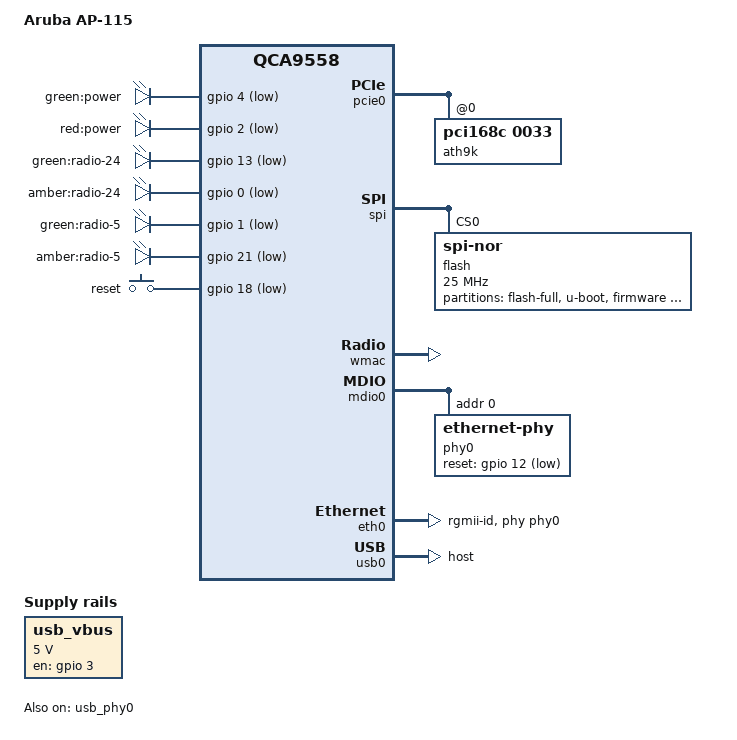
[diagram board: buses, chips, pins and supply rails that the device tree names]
// SPDX-License-Identifier: GPL-2.0-or-later OR MIT

#include "qca955x.dtsi"

#include <dt-bindings/gpio/gpio.h>
#include <dt-bindings/input/input.h>

/ {
	compatible = "aruba,ap-115", "qca,qca9558";
	model = "Aruba AP-115";

	aliases {
		led-boot = &led_power_green;
		led-failsafe = &led_power_red;
		led-running = &led_power_green;
		led-upgrade = &led_power_red;
		label-mac-device = &eth0;
	};

	chosen {
		bootargs = "console=ttyS0,9600n8";
	};

	/**
	 * Currently unused GPIOs in OpenWrt:
	 *
	 * TPM-CLK: 19
	 * TPM-IO: 20
	 * ETH-PHY-Interrupt: 11
	 * Power-DC: 22
	 * Power-PoE: 23
	 * Power-PoE-8023af: 17
	 */

	leds {
		compatible = "gpio-leds";

		led_power_green: power-green {
			label = "green:power";
			gpios = <&gpio 4 GPIO_ACTIVE_LOW>;
		};
		
		led_power_red: power-red {
			label = "red:power";
			gpios = <&gpio 2 GPIO_ACTIVE_LOW>;
		};

		radio-24-green {
			label = "green:radio-24";
			gpios = <&gpio 13 GPIO_ACTIVE_LOW>;
			linux,default-trigger = "phy0tpt";
		};

		radio-24-amber {
			label = "amber:radio-24";
			gpios = <&gpio 0 GPIO_ACTIVE_LOW>;
		};

		radio-5-green {
			label = "green:radio-5";
			gpios = <&gpio 1 GPIO_ACTIVE_LOW>;
			linux,default-trigger = "phy1tpt";
		};

		radio-5-amber {
			label = "amber:radio-5";
			gpios = <&gpio 21 GPIO_ACTIVE_LOW>;
		};
	};

	keys {
		compatible = "gpio-keys";

		reset {
			label = "reset";
			linux,code = <KEY_RESTART>;
			gpios = <&gpio 18 GPIO_ACTIVE_LOW>;
		};
	};

	reg_usb_vbus {
		compatible = "regulator-fixed";
		regulator-name = "usb_vbus";
		regulator-min-microvolt = <5000000>;
		regulator-max-microvolt = <5000000>;
		gpio = <&gpio 3 GPIO_ACTIVE_HIGH>;
		enable-active-high;
		regulator-always-on;
	};
};

&pcie0 {
	status = "okay";

	ath9k: wifi@0,0 {
		compatible = "pci168c,0033";
		reg = <0x0000 0 0 0 0>;
		qca,no-eeprom;

		nvmem-cells = <&macaddr_oemdata_1d>;
		nvmem-cell-names = "mac-address";

		mac-address-increment = <1>;
	};
};

&pinmux {
	/**
	 * Ugly hack ahead!
	 *
	 * GPIO05: Bank1-CS  / Bank2-CLK
	 * GPIO14: Bank1-CLK / Bank2-CS
	 *
	 * We can not support this with OpenWrt, as this
	 * would require us to influence the pinmux based on the CS.
	 * 
	 * We force-select Bank 1. Remember to blame Aruba for that.
	 */
	cs0_pin5: spi-cs0-pin5 {
		pinctrl-single,bits = <0x4 0x900 0xff00>;
	};

	clk_pin14: spi-cs1-pin14 {
		pinctrl-single,bits = <0xc 0x0a0000 0xff0000>;
	};
};

&spi {
	pinctrl-names = "default";
	pinctrl-0 = <&cs0_pin5 &clk_pin14>;
	status = "okay";

	flash@0 {
		compatible = "jedec,spi-nor";
		reg = <0>;
		spi-max-frequency = <25000000>;

		partitions {
			compatible = "fixed-partitions";
			#address-cells = <1>;
			#size-cells = <1>;

			partition@1 {
				label = "flash-full";
				reg = <0x0 0x1000000>;
				read-only;
			};

			uboot: partition@0 {
				label = "u-boot";
				reg = <0x000000 0x040000>;
				read-only;
			};

			/* Here be dragons */

			partition@100000 {
				compatible = "denx,uimage";
				label = "firmware";
				reg = <0x100000 0xe00000>;
			};

			oemdata: partition@fe0000 {
				label = "oemdata";
				reg = <0xfe0000 0x010000>;
				read-only;
			};

			partition@ff0000 {
				label = "u-boot-env";
				reg = <0xff0000 0x10000>;
			};
		};
	};
};

&wmac {
	status = "okay";

	qca,no-eeprom;
	nvmem-cells = <&macaddr_oemdata_1d>;
	nvmem-cell-names = "mac-address";
};

&mdio0 {
	status = "okay";

	phy0: ethernet-phy@0 {
		reg = <0>;

		reset-gpios = <&gpio 12 GPIO_ACTIVE_LOW>;
		reset-assert-us = <10000>;
		reset-deassert-us = <10000>;

		eee-broken-100tx;
		eee-broken-1000t;
	};
};

&eth0 {
	status = "okay";

	nvmem-cells = <&macaddr_oemdata_1d>;
	nvmem-cell-names = "mac-address";

	phy-handle = <&phy0>;
	phy-mode = "rgmii-id";

	pll-data = <0xa6000000 0xa0000101 0xa0001313>;

	gmac-config {
		device = <&gmac>;
		ge0-sgmii = <0>;
		txen-delay = <3>;
		txd-delay = <3>;
		rxdv-delay = <3>;
		rxd-delay = <3>;
		rgmii-enabled = <1>;
	};
};

&oemdata {
	compatible = "nvmem-cells";
	#address-cells = <1>;
	#size-cells = <1>;

	macaddr_oemdata_1d: macaddr@1d {
		reg = <0x1d 0x6>;
	};
};

&usb_phy0 {
	status = "okay";
};

&usb0 {
	dr_mode = "host";
	status = "okay";
};
